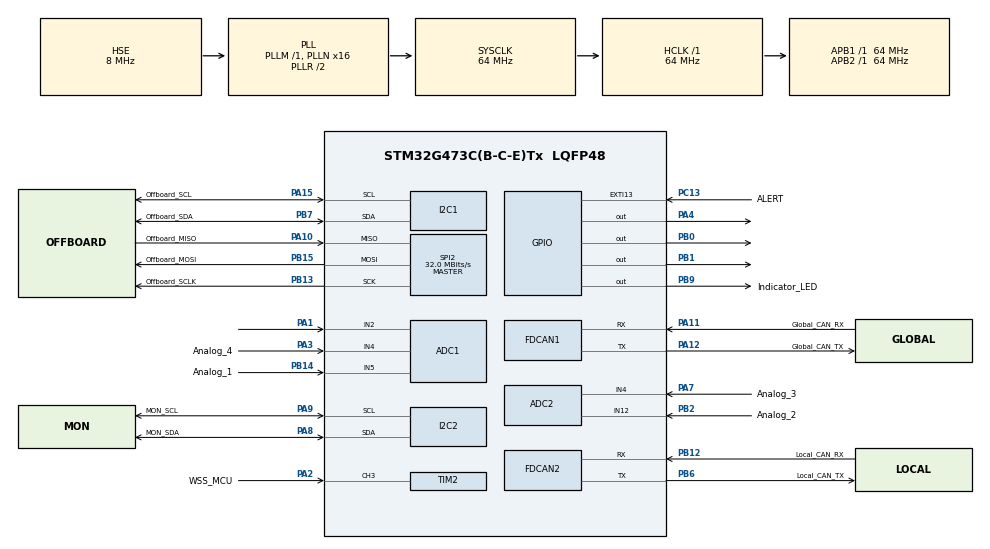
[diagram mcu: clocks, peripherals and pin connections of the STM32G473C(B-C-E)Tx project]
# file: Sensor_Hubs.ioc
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ADC1.Channel-0\#ChannelRegularConversion=ADC_CHANNEL_4
ADC1.Channel-1\#ChannelRegularConversion=ADC_CHANNEL_5
ADC1.Channel-2\#ChannelRegularConversion=ADC_CHANNEL_2
ADC1.ExternalTrigConv=ADC_EXTERNALTRIG_T8_TRGO
ADC1.NbrOfConversion=3
ADC1.NbrOfConversionFlag=1
ADC1.OffsetNumber-0\#ChannelRegularConversion=ADC_OFFSET_NONE
ADC1.OffsetNumber-1\#ChannelRegularConversion=ADC_OFFSET_NONE
ADC1.OffsetNumber-2\#ChannelRegularConversion=ADC_OFFSET_NONE
ADC1.Rank-0\#ChannelRegularConversion=1
ADC1.Rank-1\#ChannelRegularConversion=2
ADC1.Rank-2\#ChannelRegularConversion=3
ADC1.SamplingTime-0\#ChannelRegularConversion=ADC_SAMPLETIME_247CYCLES_5
ADC1.SamplingTime-1\#ChannelRegularConversion=ADC_SAMPLETIME_247CYCLES_5
ADC1.SamplingTime-2\#ChannelRegularConversion=ADC_SAMPLETIME_247CYCLES_5
ADC1.master=1
ADC2.Channel-0\#ChannelRegularConversion=ADC_CHANNEL_12
ADC2.NbrOfConversionFlag=1
ADC2.OffsetNumber-0\#ChannelRegularConversion=ADC_OFFSET_NONE
ADC2.Rank-0\#ChannelRegularConversion=1
ADC2.SamplingTime-0\#ChannelRegularConversion=ADC_SAMPLETIME_2CYCLES_5
Dma.ADC1.0.Direction=DMA_PERIPH_TO_MEMORY
Dma.ADC1.0.EventEnable=DISABLE
Dma.ADC1.0.Instance=DMA1_Channel1
Dma.ADC1.0.MemDataAlignment=DMA_MDATAALIGN_HALFWORD
Dma.ADC1.0.MemInc=DMA_MINC_ENABLE
Dma.ADC1.0.Mode=DMA_CIRCULAR
Dma.ADC1.0.PeriphDataAlignment=DMA_PDATAALIGN_HALFWORD
Dma.ADC1.0.PeriphInc=DMA_PINC_DISABLE
Dma.ADC1.0.Polarity=HAL_DMAMUX_REQ_GEN_RISING
Dma.ADC1.0.Priority=DMA_PRIORITY_LOW
Dma.ADC1.0.RequestNumber=1
Dma.ADC1.0.SignalID=NONE
Dma.ADC1.0.SyncEnable=DISABLE
Dma.ADC1.0.SyncPolarity=HAL_DMAMUX_SYNC_NO_EVENT
Dma.ADC1.0.SyncRequestNumber=1
Dma.ADC1.0.SyncSignalID=NONE
Dma.ADC2.1.Direction=DMA_PERIPH_TO_MEMORY
Dma.ADC2.1.EventEnable=DISABLE
Dma.ADC2.1.Instance=DMA1_Channel2
Dma.ADC2.1.MemDataAlignment=DMA_MDATAALIGN_HALFWORD
Dma.ADC2.1.MemInc=DMA_MINC_ENABLE
Dma.ADC2.1.Mode=DMA_CIRCULAR
Dma.ADC2.1.PeriphDataAlignment=DMA_PDATAALIGN_HALFWORD
Dma.ADC2.1.PeriphInc=DMA_PINC_DISABLE
Dma.ADC2.1.Polarity=HAL_DMAMUX_REQ_GEN_RISING
Dma.ADC2.1.Priority=DMA_PRIORITY_LOW
Dma.ADC2.1.RequestNumber=1
Dma.ADC2.1.SignalID=NONE
Dma.ADC2.1.SyncEnable=DISABLE
Dma.ADC2.1.SyncPolarity=HAL_DMAMUX_SYNC_NO_EVENT
Dma.ADC2.1.SyncRequestNumber=1
Dma.ADC2.1.SyncSignalID=NONE
Dma.I2C2_RX.3.Direction=DMA_PERIPH_TO_MEMORY
Dma.I2C2_RX.3.EventEnable=DISABLE
Dma.I2C2_RX.3.Instance=DMA1_Channel4
Dma.I2C2_RX.3.MemDataAlignment=DMA_MDATAALIGN_BYTE
Dma.I2C2_RX.3.MemInc=DMA_MINC_ENABLE
Dma.I2C2_RX.3.Mode=DMA_NORMAL
Dma.I2C2_RX.3.PeriphDataAlignment=DMA_PDATAALIGN_BYTE
Dma.I2C2_RX.3.PeriphInc=DMA_PINC_DISABLE
Dma.I2C2_RX.3.Polarity=HAL_DMAMUX_REQ_GEN_RISING
Dma.I2C2_RX.3.Priority=DMA_PRIORITY_LOW
Dma.I2C2_RX.3.RequestNumber=1
Dma.I2C2_RX.3.SignalID=NONE
Dma.I2C2_RX.3.SyncEnable=DISABLE
Dma.I2C2_RX.3.SyncPolarity=HAL_DMAMUX_SYNC_NO_EVENT
Dma.I2C2_RX.3.SyncRequestNumber=1
Dma.I2C2_RX.3.SyncSignalID=NONE
Dma.Request0=ADC1
Dma.Request1=ADC2
Dma.Request2=TIM2_CH3
Dma.Request3=I2C2_RX
Dma.Request4=SPI2_RX
Dma.SPI2_RX.4.Direction=DMA_PERIPH_TO_MEMORY
Dma.SPI2_RX.4.EventEnable=DISABLE
Dma.SPI2_RX.4.Instance=DMA1_Channel5
Dma.SPI2_RX.4.MemDataAlignment=DMA_MDATAALIGN_BYTE
Dma.SPI2_RX.4.MemInc=DMA_MINC_ENABLE
Dma.SPI2_RX.4.Mode=DMA_NORMAL
Dma.SPI2_RX.4.PeriphDataAlignment=DMA_PDATAALIGN_BYTE
Dma.SPI2_RX.4.PeriphInc=DMA_PINC_DISABLE
Dma.SPI2_RX.4.Polarity=HAL_DMAMUX_REQ_GEN_RISING
Dma.SPI2_RX.4.Priority=DMA_PRIORITY_LOW
Dma.SPI2_RX.4.RequestNumber=1
Dma.SPI2_RX.4.SignalID=NONE
Dma.SPI2_RX.4.SyncEnable=DISABLE
Dma.SPI2_RX.4.SyncPolarity=HAL_DMAMUX_SYNC_NO_EVENT
Dma.SPI2_RX.4.SyncRequestNumber=1
Dma.SPI2_RX.4.SyncSignalID=NONE
Dma.TIM2_CH3.2.Direction=DMA_PERIPH_TO_MEMORY
Dma.TIM2_CH3.2.EventEnable=DISABLE
Dma.TIM2_CH3.2.Instance=DMA1_Channel3
Dma.TIM2_CH3.2.MemDataAlignment=DMA_MDATAALIGN_WORD
Dma.TIM2_CH3.2.MemInc=DMA_MINC_ENABLE
Dma.TIM2_CH3.2.Mode=DMA_NORMAL
Dma.TIM2_CH3.2.PeriphDataAlignment=DMA_PDATAALIGN_WORD
Dma.TIM2_CH3.2.PeriphInc=DMA_PINC_DISABLE
Dma.TIM2_CH3.2.Polarity=HAL_DMAMUX_REQ_GEN_RISING
Dma.TIM2_CH3.2.Priority=DMA_PRIORITY_LOW
Dma.TIM2_CH3.2.RequestNumber=1
Dma.TIM2_CH3.2.SignalID=NONE
Dma.TIM2_CH3.2.SyncEnable=DISABLE
Dma.TIM2_CH3.2.SyncPolarity=HAL_DMAMUX_SYNC_NO_EVENT
Dma.TIM2_CH3.2.SyncRequestNumber=1
Dma.TIM2_CH3.2.SyncSignalID=NONE
FDCAN1.CalculateBaudRateNominal=1333333
FDCAN1.CalculateTimeBitNominal=750
FDCAN1.CalculateTimeQuantumNominal=250.0
FDCAN2.CalculateBaudRateNominal=1333333
FDCAN2.CalculateTimeBitNominal=750
FDCAN2.CalculateTimeQuantumNominal=250.0
FREERTOS.BinarySemaphores01=sem_MON_I2C,Dynamic,NULL,Depleted;sem_WSS,Dynamic,NULL,Depleted;sem_ADC1,Dynamic,NULL,Depleted;sem_ADC2,Dynamic,NULL,Depleted
FREERTOS.Events01=wss_write_flag,Dynamic,NULL
FREERTOS.Mutexes01=ADC1_key,Dynamic,NULL,Available;ADC2_key,Dynamic,NULL,Available;temp_data_key,Dynamic,NULL,Available;error_info_key,Dynamic,NULL,Available;WSS_Key,Dynamic,NULL,Available;board_mon_key,Dynamic,NULL,Available
FREERTOS.Queues01=Global_CAN_Queue,20,uint16_t,0,Dynamic,NULL,NULL;WSS_Queue,1,float,0,Dynamic,NULL,NULL
FREERTOS.Tasks01=Global_CAN_Send,40,128,Start_Global_CAN_Send,Default,NULL,Dynamic,NULL,NULL;Sensor_MSG_1,24,128,Start_Sensor_MSG_1,Default,NULL,Dynamic,NULL,NULL;Sensor_MSG_2,24,128,Start_Sensor_MSG_2,Default,NULL,Dynamic,NULL,NULL;Temps_MSG,24,128,Start_Temps_MSG,Default,NULL,Dynamic,NULL,NULL;Board_Diag_MSG,24,128,Start_Board_Diag_MSG,Default,NULL,Dynamic,NULL,NULL;ADC1_Process,8,128,Start_ADC1_Process,Default,NULL,Dynamic,NULL,NULL;ADC2_Process,8,128,Start_ADC2_Process,Default,NULL,Dynamic,NULL,NULL;Process_WSS,24,128,Start_Process_WSS,Default,NULL,Dynamic,NULL,NULL;MON_Process,16,128,Start_MON_Process,Default,NULL,Dynamic,NULL,NULL
FREERTOS.configTOTAL_HEAP_SIZE=10000
I2C1.Timing=0x10B17DB5
I2C2.Timing=0x10B17DB5
Mcu.Family=STM32G4
Mcu.Name=STM32G473C(B-C-E)Tx
Mcu.Package=LQFP48
NVIC.ADC1_2_IRQn=true\:5\:0\:false\:false\:true\:true\:true\:true\:true
NVIC.DMA1_Channel1_IRQn=true\:5\:0\:false\:false\:true\:true\:false\:true\:true
NVIC.DMA1_Channel2_IRQn=true\:5\:0\:false\:false\:true\:true\:false\:true\:true
NVIC.DMA1_Channel3_IRQn=true\:5\:0\:false\:false\:true\:true\:false\:true\:true
NVIC.DMA1_Channel4_IRQn=true\:5\:0\:false\:false\:true\:true\:false\:true\:true
NVIC.DMA1_Channel5_IRQn=true\:5\:0\:false\:false\:true\:true\:false\:true\:true
NVIC.EXTI15_10_IRQn=true\:5\:0\:false\:false\:true\:true\:true\:true\:true
NVIC.FDCAN1_IT0_IRQn=true\:5\:0\:false\:false\:true\:true\:true\:true\:true
NVIC.FDCAN2_IT0_IRQn=true\:5\:0\:false\:false\:true\:true\:true\:true\:true
NVIC.I2C1_EV_IRQn=true\:5\:0\:false\:false\:true\:true\:true\:true\:true
NVIC.I2C2_EV_IRQn=true\:5\:0\:false\:false\:true\:true\:true\:true\:true
NVIC.PriorityGroup=NVIC_PRIORITYGROUP_4
NVIC.SPI2_IRQn=true\:5\:0\:false\:false\:true\:true\:true\:true\:true
NVIC.TIM1_UP_TIM16_IRQn=true\:15\:0\:false\:false\:true\:false\:false\:true\:true
NVIC.TIM2_IRQn=true\:5\:0\:false\:false\:true\:true\:true\:true\:true
NVIC.TimeBase=TIM1_UP_TIM16_IRQn
NVIC.TimeBaseIP=TIM1
PA1.Mode=IN2-Single-Ended
PA1.Signal=ADC1_IN2
PA10.GPIO_Label=Offboard_MISO
PA10.Mode=Full_Duplex_Master
PA10.Signal=SPI2_MISO
PA11.GPIO_Label=Global_CAN_RX
PA11.Mode=FDCAN_Activate
PA11.Signal=FDCAN1_RX
PA12.GPIO_Label=Global_CAN_TX
PA12.Mode=FDCAN_Activate
PA12.Signal=FDCAN1_TX
PA13.GPIO_Label=SWDIO
PA13.Mode=Trace_Asynchronous_SW
PA13.Signal=SYS_JTMS-SWDIO
PA14.GPIO_Label=SWCLK
PA14.Mode=Trace_Asynchronous_SW
PA14.Signal=SYS_JTCK-SWCLK
PA15.GPIO_Label=Offboard_SCL
PA15.GPIO_Speed=GPIO_SPEED_FREQ_HIGH
PA15.Mode=I2C
PA15.Signal=I2C1_SCL
PA2.GPIO_Label=WSS_MCU
PA2.Signal=S_TIM2_CH3
PA3.GPIO_Label=Analog_4
PA3.Mode=IN4-Single-Ended
PA3.Signal=ADC1_IN4
PA4.Signal=GPIO_Output
PA7.GPIO_Label=Analog_3
PA7.Mode=IN4-Single-Ended
PA7.Signal=ADC2_IN4
PA8.GPIO_Label=MON_SDA
PA8.GPIO_Speed=GPIO_SPEED_FREQ_LOW
PA8.Mode=I2C
PA8.Signal=I2C2_SDA
PA9.GPIO_Label=MON_SCL
PA9.Mode=I2C
PA9.Signal=I2C2_SCL
PB0.Signal=GPIO_Output
PB1.Signal=GPIO_Output
PB12.GPIO_Label=Local_CAN_RX
PB12.Mode=FDCAN_Activate
PB12.Signal=FDCAN2_RX
PB13.GPIO_Label=Offboard_SCLK
PB13.Mode=Full_Duplex_Master
PB13.Signal=SPI2_SCK
PB14.GPIO_Label=Analog_1
PB14.Mode=IN5-Single-Ended
PB14.Signal=ADC1_IN5
PB15.GPIO_Label=Offboard_MOSI
PB15.Mode=Full_Duplex_Master
PB15.Signal=SPI2_MOSI
PB2.GPIO_Label=Analog_2
PB2.Mode=IN12-Single-Ended
PB2.Signal=ADC2_IN12
PB3.GPIO_Label=TRACESWO
PB3.Mode=Trace_Asynchronous_SW
PB3.Signal=SYS_JTDO-SWO
PB6.GPIO_Label=Local_CAN_TX
PB6.Mode=FDCAN_Activate
PB6.Signal=FDCAN2_TX
PB7.GPIO_Label=Offboard_SDA
PB7.GPIO_Speed=GPIO_SPEED_FREQ_HIGH
PB7.Mode=I2C
PB7.Signal=I2C1_SDA
PB9.GPIO_Label=Indicator_LED
PB9.Signal=GPIO_Output
PC13.GPIO_Label=ALERT
PC13.GPIO_ModeDefaultEXTI=GPIO_MODE_IT_FALLING
PC13.Signal=GPXTI13
PF0-OSC_IN.GPIO_Label=HSE_OSC_IN
PF0-OSC_IN.Mode=HSE-External-Oscillator
PF0-OSC_IN.Signal=RCC_OSC_IN
PF1-OSC_OUT.GPIO_Label=HSE_OSC_OUT
PF1-OSC_OUT.Mode=HSE-External-Oscillator
PF1-OSC_OUT.Signal=RCC_OSC_OUT
ProjectManager.HeapSize=0x200
ProjectManager.StackSize=0x400
ProjectManager.TargetToolchain=CMake
RCC.ADC12Freq_Value=64000000
RCC.ADC345Freq_Value=64000000
RCC.AHBFreq_Value=64000000
RCC.APB1Freq_Value=64000000
RCC.APB1TimFreq_Value=64000000
RCC.APB2Freq_Value=64000000
RCC.APB2TimFreq_Value=64000000
RCC.CortexFreq_Value=64000000
RCC.EXTERNAL_CLOCK_VALUE=12288000
RCC.HCLKFreq_Value=64000000
RCC.HSE_VALUE=8000000
RCC.HSI48_VALUE=48000000
RCC.HSI_VALUE=16000000
RCC.LSE_VALUE=32768
RCC.PLLN=16
RCC.PLLSourceVirtual=RCC_PLLSOURCE_HSE
RCC.SYSCLKFreq_VALUE=64000000
RCC.SYSCLKSource=RCC_SYSCLKSOURCE_PLLCLK
RCC.USBFreq_Value=64000000
RCC.VCOOutputFreq_Value=128000000
SH.S_TIM2_CH3.0=TIM2_CH3,Input_Capture3_from_TI3
SPI2.CalculateBaudRate=32.0 MBits/s
SPI2.Direction=SPI_DIRECTION_2LINES
SPI2.Mode=SPI_MODE_MASTER
SPI2.VirtualType=VM_MASTER
TIM2.Channel-Input_Capture3_from_TI3=TIM_CHANNEL_3
TIM2.ICFilter_CH3=8
TIM2.ICPolarity_CH3=TIM_INPUTCHANNELPOLARITY_FALLING
TIM2.PeriodNoDither=0xffffffff
TIM2.Prescaler=64-1
TIM8.PeriodNoDither=1000-1
TIM8.Prescaler=640-1
TIM8.TIM_MasterOutputTrigger=TIM_TRGO_UPDATE
VP_FREERTOS_VS_CMSIS_V2.Mode=CMSIS_V2
VP_SYS_VS_DBSignals.Mode=DisableDeadBatterySignals
VP_SYS_VS_tim1.Mode=TIM1
VP_TIM2_VS_ClockSourceINT.Mode=Internal
VP_TIM8_VS_ClockSourceINT.Mode=Internal
board=custom

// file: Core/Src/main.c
/* USER CODE BEGIN Header */
/**
 ******************************************************************************
 * @file           : main.c
 * @brief          : Main program body
 ******************************************************************************
 * @attention
 *
 * Copyright (c) 2026 STMicroelectronics.
 * All rights reserved.
 *
 * This software is licensed under terms that can be found in the LICENSE file
 * in the root directory of this software component.
 * If no LICENSE file comes with this software, it is provided AS-IS.
 *
 ******************************************************************************
 */
/* USER CODE END Header */
#include "main.h"

#include "Common.h"
#include "adc_driver.h"
#include "cmsis_os.h"
#include "cmsis_os2.h"
#include "local_can.h"

ADC_HandleTypeDef hadc1;
ADC_HandleTypeDef hadc2;
DMA_HandleTypeDef hdma_adc1;
DMA_HandleTypeDef hdma_adc2;

FDCAN_HandleTypeDef hfdcan1;
FDCAN_HandleTypeDef hfdcan2;

I2C_HandleTypeDef hi2c1;
I2C_HandleTypeDef hi2c2;
DMA_HandleTypeDef hdma_i2c2_rx;

SPI_HandleTypeDef hspi2;
DMA_HandleTypeDef hdma_spi2_rx;

TIM_HandleTypeDef htim2;
TIM_HandleTypeDef htim8;
DMA_HandleTypeDef hdma_tim2_ch3;

/* Definitions for Global_CAN_Send */
osThreadId_t Global_CAN_SendHandle;
const osThreadAttr_t Global_CAN_Send_attributes = {
    .name = "Global_CAN_Send", .priority = (osPriority_t)osPriorityHigh, .stack_size = 128 * 4};
/* Definitions for Sensor_MSG_1 */
osThreadId_t Sensor_MSG_1Handle;
const osThreadAttr_t Sensor_MSG_1_attributes = {
    .name = "Sensor_MSG_1", .priority = (osPriority_t)osPriorityNormal, .stack_size = 128 * 4};
/* Definitions for Sensor_MSG_2 */
osThreadId_t Sensor_MSG_2Handle;
const osThreadAttr_t Sensor_MSG_2_attributes = {
    .name = "Sensor_MSG_2", .priority = (osPriority_t)osPriorityNormal, .stack_size = 128 * 4};
/* Definitions for Temps_MSG */
osThreadId_t Temps_MSGHandle;
const osThreadAttr_t Temps_MSG_attributes = {
    .name = "Temps_MSG", .priority = (osPriority_t)osPriorityNormal, .stack_size = 128 * 4};
/* Definitions for Board_Diag_MSG */
osThreadId_t Board_Diag_MSGHandle;
const osThreadAttr_t Board_Diag_MSG_attributes = {
    .name = "Board_Diag_MSG", .priority = (osPriority_t)osPriorityNormal, .stack_size = 128 * 4};
/* Definitions for ADC1_Process */
osThreadId_t ADC1_ProcessHandle;
const osThreadAttr_t ADC1_Process_attributes = {
    .name = "ADC1_Process", .priority = (osPriority_t)osPriorityLow, .stack_size = 128 * 4};
/* Definitions for ADC2_Process */
osThreadId_t ADC2_ProcessHandle;
const osThreadAttr_t ADC2_Process_attributes = {
    .name = "ADC2_Process", .priority = (osPriority_t)osPriorityLow, .stack_size = 128 * 4};
/* Definitions for Process_WSS */
osThreadId_t Process_WSSHandle;
const osThreadAttr_t Process_WSS_attributes = {
    .name = "Process_WSS", .priority = (osPriority_t)osPriorityNormal, .stack_size = 128 * 4};
/* Definitions for MON_Process */
osThreadId_t MON_ProcessHandle;
const osThreadAttr_t MON_Process_attributes = {
    .name = "MON_Process", .priority = (osPriority_t)osPriorityBelowNormal, .stack_size = 128 * 4};
/* Definitions for Global_CAN_Queue */
osMessageQueueId_t Global_CAN_QueueHandle;
const osMessageQueueAttr_t Global_CAN_Queue_attributes = {.name = "Global_CAN_Queue"};
/* Definitions for WSS_Queue */
osMessageQueueId_t WSS_QueueHandle;
const osMessageQueueAttr_t WSS_Queue_attributes = {.name = "WSS_Queue"};
/* Definitions for ADC1_key */
osMutexId_t ADC1_keyHandle;
const osMutexAttr_t ADC1_key_attributes = {.name = "ADC1_key"};
/* Definitions for ADC2_key */
osMutexId_t ADC2_keyHandle;
const osMutexAttr_t ADC2_key_attributes = {.name = "ADC2_key"};
/* Definitions for temp_data_key */
osMutexId_t temp_data_keyHandle;
const osMutexAttr_t temp_data_key_attributes = {.name = "temp_data_key"};
/* Definitions for error_info_key */
osMutexId_t error_info_keyHandle;
const osMutexAttr_t error_info_key_attributes = {.name = "error_info_key"};
/* Definitions for WSS_Key */
osMutexId_t WSS_KeyHandle;
const osMutexAttr_t WSS_Key_attributes = {.name = "WSS_Key"};
/* Definitions for board_mon_key */
osMutexId_t board_mon_keyHandle;
const osMutexAttr_t board_mon_key_attributes = {.name = "board_mon_key"};
/* Definitions for sem_MON_I2C */
osSemaphoreId_t sem_MON_I2CHandle;
const osSemaphoreAttr_t sem_MON_I2C_attributes = {.name = "sem_MON_I2C"};
/* Definitions for sem_WSS */
osSemaphoreId_t sem_WSSHandle;
const osSemaphoreAttr_t sem_WSS_attributes = {.name = "sem_WSS"};
/* Definitions for sem_ADC1 */
osSemaphoreId_t sem_ADC1Handle;
const osSemaphoreAttr_t sem_ADC1_attributes = {.name = "sem_ADC1"};
/* Definitions for sem_ADC2 */
osSemaphoreId_t sem_ADC2Handle;
const osSemaphoreAttr_t sem_ADC2_attributes = {.name = "sem_ADC2"};
/* Definitions for wss_write_flag */
osEventFlagsId_t wss_write_flagHandle;
const osEventFlagsAttr_t wss_write_flag_attributes = {.name = "wss_write_flag"};

void SystemClock_Config(void);
static void MX_GPIO_Init(void);
static void MX_DMA_Init(void);
static void MX_ADC1_Init(void);
static void MX_ADC2_Init(void);
static void MX_FDCAN1_Init(void);
static void MX_FDCAN2_Init(void);
static void MX_I2C1_Init(void);
static void MX_I2C2_Init(void);
static void MX_SPI2_Init(void);
static void MX_TIM2_Init(void);
static void MX_TIM8_Init(void);
void Start_Global_CAN_Send(void* argument);
void Start_Sensor_MSG_1(void* argument);
void Start_Sensor_MSG_2(void* argument);
void Start_Temps_MSG(void* argument);
void Start_Board_Diag_MSG(void* argument);
void Start_ADC1_Process(void* argument);
void Start_ADC2_Process(void* argument);
void Start_Process_WSS(void* argument);
void Start_MON_Process(void* argument);

/* USER CODE BEGIN 0 */
Mutex_Struct_t mutex_struct;
Semaphore_Struct_t semaphore_struct;
adc1_info global_adc1 = {0};
adc2_info global_adc2 = {0};
mon_i2c_data global_mon = {0};

/* USER CODE END 0 */

int main(void) {

    /* MCU Configuration--------------------------------------------------------*/

    /* Reset of all peripherals, Initializes the Flash interface and the Systick. */
    HAL_Init();

    /* USER CODE BEGIN Init */
    adc1_info adc1_data = {0};
    adc2_info adc2_data = {0};
    mon_i2c_data board_mon_data = {0};
    wss = 0;
    /* USER CODE END Init */

    /* Configure the system clock */
    SystemClock_Config();

    /* Initialize all configured peripherals */
    MX_GPIO_Init();
    MX_DMA_Init();
    MX_ADC1_Init();
    MX_ADC2_Init();
    MX_FDCAN1_Init();
    MX_FDCAN2_Init();
    MX_I2C1_Init();
    MX_I2C2_Init();
    MX_SPI2_Init();
    MX_TIM2_Init();
    MX_TIM8_Init();

    /* Init scheduler */
    osKernelInitialize();
    /* Create the mutex(es) */
    /* creation of ADC1_key */
    ADC1_keyHandle = osMutexNew(&ADC1_key_attributes);

    /* creation of ADC2_key */
    ADC2_keyHandle = osMutexNew(&ADC2_key_attributes);

    /* creation of temp_data_key */
    temp_data_keyHandle = osMutexNew(&temp_data_key_attributes);

    /* creation of error_info_key */
    error_info_keyHandle = osMutexNew(&error_info_key_attributes);

    /* creation of WSS_Key */
    WSS_KeyHandle = osMutexNew(&WSS_Key_attributes);

    /* creation of board_mon_key */
    board_mon_keyHandle = osMutexNew(&board_mon_key_attributes);

    /* USER CODE BEGIN RTOS_MUTEX */
    /* add mutexes, ... */
    mutex_struct.error_info_key = error_info_keyHandle;
    mutex_struct.temp_data_key = temp_data_keyHandle;
    mutex_struct.adc1_key = ADC1_keyHandle;
    mutex_struct.adc2_key = ADC2_keyHandle;
    mutex_struct.board_mon_key = board_mon_keyHandle;

    /* USER CODE END RTOS_MUTEX */

    /* Create the semaphores(s) */
    /* creation of sem_MON_I2C */
    sem_MON_I2CHandle = osSemaphoreNew(1, 0, &sem_MON_I2C_attributes);

    /* creation of sem_WSS */
    sem_WSSHandle = osSemaphoreNew(1, 0, &sem_WSS_attributes);

    /* creation of sem_ADC1 */
    sem_ADC1Handle = osSemaphoreNew(1, 0, &sem_ADC1_attributes);

    /* creation of sem_ADC2 */
    sem_ADC2Handle = osSemaphoreNew(1, 0, &sem_ADC2_attributes);

    /* USER CODE BEGIN RTOS_SEMAPHORES */
    /* add semaphores, ... */
    semaphore_struct.sem_ADC1 = sem_ADC1Handle;
    semaphore_struct.sem_ADC2 = sem_ADC2Handle;
    semaphore_struct.sem_MON_I2C = sem_MON_I2CHandle;
    semaphore_struct.sem_WSS = sem_WSSHandle;
    /* USER CODE END RTOS_SEMAPHORES */

    /* USER CODE BEGIN RTOS_TIMERS */
    /* start timers, add new ones, ... */
    HAL_TIM_IC_Start_IT(&htim2, TIM_CHANNEL_3);
    /* USER CODE END RTOS_TIMERS */

    /* Create the queue(s) */
    /* creation of Global_CAN_Queue */
    Global_CAN_QueueHandle = osMessageQueueNew(20, sizeof(uint16_t), &Global_CAN_Queue_attributes);

    /* creation of WSS_Queue */
    WSS_QueueHandle = osMessageQueueNew(1, sizeof(float), &WSS_Queue_attributes);

    /* USER CODE BEGIN RTOS_QUEUES */
    /* add queues, ... */
    Local_Temp_CAN_QueueHandle =
        osMessageQueueNew(20, sizeof(uint8_t[8]), &Local_Temp_CAN_Queue_attributes);
    /* USER CODE END RTOS_QUEUES */

    /* Create the thread(s) */
    /* creation of Global_CAN_Send */
    Global_CAN_SendHandle = osThreadNew(Start_Global_CAN_Send, NULL, &Global_CAN_Send_attributes);

    /* creation of Sensor_MSG_1 */
    Sensor_MSG_1Handle = osThreadNew(Start_Sensor_MSG_1, NULL, &Sensor_MSG_1_attributes);

    /* creation of Sensor_MSG_2 */
    Sensor_MSG_2Handle = osThreadNew(Start_Sensor_MSG_2, NULL, &Sensor_MSG_2_attributes);

    /* creation of Temps_MSG */
    Temps_MSGHandle = osThreadNew(Start_Temps_MSG, NULL, &Temps_MSG_attributes);

    /* creation of Board_Diag_MSG */
    Board_Diag_MSGHandle = osThreadNew(Start_Board_Diag_MSG, NULL, &Board_Diag_MSG_attributes);

    /* creation of ADC1_Process */
    ADC1_ProcessHandle = osThreadNew(Start_ADC1_Process, NULL, &ADC1_Process_attributes);

    /* creation of ADC2_Process */
    ADC2_ProcessHandle = osThreadNew(Start_ADC2_Process, NULL, &ADC2_Process_attributes);

    /* creation of Process_WSS */
    Process_WSSHandle = osThreadNew(Start_Process_WSS, NULL, &Process_WSS_attributes);

    /* creation of MON_Process */
    MON_ProcessHandle = osThreadNew(Start_MON_Process, NULL, &MON_Process_attributes);

    /* creation of wss_write_flag */
    wss_write_flagHandle = osEventFlagsNew(&wss_write_flag_attributes);

    /* Start scheduler */
    osKernelStart();

    /* We should never get here as control is now taken by the scheduler */

    /* Infinite loop */
    while (1) {

    }
}

void SystemClock_Config(void) {
    RCC_OscInitTypeDef RCC_OscInitStruct = {0};
    RCC_ClkInitTypeDef RCC_ClkInitStruct = {0};

    /** Configure the main internal regulator output voltage
     */
    HAL_PWREx_ControlVoltageScaling(PWR_REGULATOR_VOLTAGE_SCALE1);

    /** Initializes the RCC Oscillators according to the specified parameters
     * in the RCC_OscInitTypeDef structure.
     */
    RCC_OscInitStruct.OscillatorType = RCC_OSCILLATORTYPE_HSE;
    RCC_OscInitStruct.HSEState = RCC_HSE_ON;
    RCC_OscInitStruct.PLL.PLLState = RCC_PLL_ON;
    RCC_OscInitStruct.PLL.PLLSource = RCC_PLLSOURCE_HSE;
    RCC_OscInitStruct.PLL.PLLM = RCC_PLLM_DIV1;
    RCC_OscInitStruct.PLL.PLLN = 16;
    RCC_OscInitStruct.PLL.PLLP = RCC_PLLP_DIV2;
    RCC_OscInitStruct.PLL.PLLQ = RCC_PLLQ_DIV2;
    RCC_OscInitStruct.PLL.PLLR = RCC_PLLR_DIV2;
    if (HAL_RCC_OscConfig(&RCC_OscInitStruct) != HAL_OK) {
        Error_Handler();
    }

    /** Initializes the CPU, AHB and APB buses clocks
     */
    RCC_ClkInitStruct.ClockType =
        RCC_CLOCKTYPE_HCLK | RCC_CLOCKTYPE_SYSCLK | RCC_CLOCKTYPE_PCLK1 | RCC_CLOCKTYPE_PCLK2;
    RCC_ClkInitStruct.SYSCLKSource = RCC_SYSCLKSOURCE_PLLCLK;
    RCC_ClkInitStruct.AHBCLKDivider = RCC_SYSCLK_DIV1;
    RCC_ClkInitStruct.APB1CLKDivider = RCC_HCLK_DIV1;
    RCC_ClkInitStruct.APB2CLKDivider = RCC_HCLK_DIV1;

    if (HAL_RCC_ClockConfig(&RCC_ClkInitStruct, FLASH_LATENCY_2) != HAL_OK) {
        Error_Handler();
    }
}

static void MX_ADC1_Init(void) {

    ADC_MultiModeTypeDef multimode = {0};
    ADC_ChannelConfTypeDef sConfig = {0};

    /** Common config
     */
    hadc1.Instance = ADC1;
    hadc1.Init.ClockPrescaler = ADC_CLOCK_SYNC_PCLK_DIV2;
    hadc1.Init.Resolution = ADC_RESOLUTION_12B;
    hadc1.Init.DataAlign = ADC_DATAALIGN_RIGHT;
    hadc1.Init.GainCompensation = 0;
    hadc1.Init.ScanConvMode = ADC_SCAN_ENABLE;
    hadc1.Init.EOCSelection = ADC_EOC_SINGLE_CONV;
    hadc1.Init.LowPowerAutoWait = DISABLE;
    hadc1.Init.ContinuousConvMode = DISABLE;
    hadc1.Init.NbrOfConversion = 3;
    hadc1.Init.DiscontinuousConvMode = DISABLE;
    hadc1.Init.ExternalTrigConv = ADC_EXTERNALTRIG_T8_TRGO;
    hadc1.Init.ExternalTrigConvEdge = ADC_EXTERNALTRIGCONVEDGE_RISING;
    hadc1.Init.DMAContinuousRequests = DISABLE;
    hadc1.Init.Overrun = ADC_OVR_DATA_PRESERVED;
    hadc1.Init.OversamplingMode = DISABLE;
    if (HAL_ADC_Init(&hadc1) != HAL_OK) {
        Error_Handler();
    }

    /** Configure the ADC multi-mode
     */
    multimode.Mode = ADC_MODE_INDEPENDENT;
    if (HAL_ADCEx_MultiModeConfigChannel(&hadc1, &multimode) != HAL_OK) {
        Error_Handler();
    }

    /** Configure Regular Channel
     */
    sConfig.Channel = ADC_CHANNEL_4;
    sConfig.Rank = ADC_REGULAR_RANK_1;
    sConfig.SamplingTime = ADC_SAMPLETIME_247CYCLES_5;
    sConfig.SingleDiff = ADC_SINGLE_ENDED;
    sConfig.OffsetNumber = ADC_OFFSET_NONE;
    sConfig.Offset = 0;
    if (HAL_ADC_ConfigChannel(&hadc1, &sConfig) != HAL_OK) {
        Error_Handler();
    }

    /** Configure Regular Channel
     */
    sConfig.Channel = ADC_CHANNEL_5;
    sConfig.Rank = ADC_REGULAR_RANK_2;
    if (HAL_ADC_ConfigChannel(&hadc1, &sConfig) != HAL_OK) {
        Error_Handler();
    }

    /** Configure Regular Channel
     */
    sConfig.Channel = ADC_CHANNEL_2;
    sConfig.Rank = ADC_REGULAR_RANK_3;
    if (HAL_ADC_ConfigChannel(&hadc1, &sConfig) != HAL_OK) {
        Error_Handler();
    }
}

static void MX_ADC2_Init(void) {

    ADC_ChannelConfTypeDef sConfig = {0};

    /** Common config
     */
    hadc2.Instance = ADC2;
    hadc2.Init.ClockPrescaler = ADC_CLOCK_SYNC_PCLK_DIV2;
    hadc2.Init.Resolution = ADC_RESOLUTION_12B;
    hadc2.Init.DataAlign = ADC_DATAALIGN_RIGHT;
    hadc2.Init.GainCompensation = 0;
    hadc2.Init.ScanConvMode = ADC_SCAN_DISABLE;
    hadc2.Init.EOCSelection = ADC_EOC_SINGLE_CONV;
    hadc2.Init.LowPowerAutoWait = DISABLE;
    hadc2.Init.ContinuousConvMode = DISABLE;
    hadc2.Init.NbrOfConversion = 1;
    hadc2.Init.DiscontinuousConvMode = DISABLE;
    hadc2.Init.ExternalTrigConv = ADC_SOFTWARE_START;
    hadc2.Init.ExternalTrigConvEdge = ADC_EXTERNALTRIGCONVEDGE_NONE;
    hadc2.Init.DMAContinuousRequests = DISABLE;
    hadc2.Init.Overrun = ADC_OVR_DATA_PRESERVED;
    hadc2.Init.OversamplingMode = DISABLE;
    if (HAL_ADC_Init(&hadc2) != HAL_OK) {
        Error_Handler();
    }

    /** Configure Regular Channel
     */
    sConfig.Channel = ADC_CHANNEL_12;
    sConfig.Rank = ADC_REGULAR_RANK_1;
    sConfig.SamplingTime = ADC_SAMPLETIME_2CYCLES_5;
    sConfig.SingleDiff = ADC_SINGLE_ENDED;
    sConfig.OffsetNumber = ADC_OFFSET_NONE;
    sConfig.Offset = 0;
    if (HAL_ADC_ConfigChannel(&hadc2, &sConfig) != HAL_OK) {
        Error_Handler();
    }
}

static void MX_FDCAN1_Init(void) {

    hfdcan1.Instance = FDCAN1;
    hfdcan1.Init.ClockDivider = FDCAN_CLOCK_DIV1;
    hfdcan1.Init.FrameFormat = FDCAN_FRAME_CLASSIC;
    hfdcan1.Init.Mode = FDCAN_MODE_NORMAL;
    hfdcan1.Init.AutoRetransmission = DISABLE;
    hfdcan1.Init.TransmitPause = DISABLE;
    hfdcan1.Init.ProtocolException = DISABLE;
    hfdcan1.Init.NominalPrescaler = 16;
    hfdcan1.Init.NominalSyncJumpWidth = 1;
    hfdcan1.Init.NominalTimeSeg1 = 1;
    hfdcan1.Init.NominalTimeSeg2 = 1;
    hfdcan1.Init.DataPrescaler = 1;
    hfdcan1.Init.DataSyncJumpWidth = 1;
    hfdcan1.Init.DataTimeSeg1 = 1;
    hfdcan1.Init.DataTimeSeg2 = 1;
    hfdcan1.Init.StdFiltersNbr = 0;
    hfdcan1.Init.ExtFiltersNbr = 0;
    hfdcan1.Init.TxFifoQueueMode = FDCAN_TX_FIFO_OPERATION;
    if (HAL_FDCAN_Init(&hfdcan1) != HAL_OK) {
        Error_Handler();
    }
    /* USER CODE BEGIN FDCAN1_Init 2 */
    FDCAN_FilterTypeDef sFilterConfig;

    sFilterConfig.IdType = FDCAN_STANDARD_ID;  // 11 Bit Standard Length
    sFilterConfig.FilterIndex = 0;             // One filter so set to 0
    sFilterConfig.FilterType =
        FDCAN_FILTER_MASK;  // Standard Filter Type, FilterID1 = filter, FilterID2 = mask
    sFilterConfig.FilterID1 = 0x000;
    sFilterConfig.FilterID2 = 0x000;
    sFilterConfig.FilterConfig = FDCAN_FILTER_TO_RXFIFO0;

    if (HAL_FDCAN_ConfigFilter(&hfdcan1, &sFilterConfig) != HAL_OK) {
        /* Filter Configuration Error */
        Error_Handler();
    }
    /* USER CODE END FDCAN1_Init 2 */
}

static void MX_FDCAN2_Init(void) {

    hfdcan2.Instance = FDCAN2;
    hfdcan2.Init.ClockDivider = FDCAN_CLOCK_DIV1;
    hfdcan2.Init.FrameFormat = FDCAN_FRAME_CLASSIC;
    hfdcan2.Init.Mode = FDCAN_MODE_NORMAL;
    hfdcan2.Init.AutoRetransmission = DISABLE;
    hfdcan2.Init.TransmitPause = DISABLE;
    hfdcan2.Init.ProtocolException = DISABLE;
    hfdcan2.Init.NominalPrescaler = 16;
    hfdcan2.Init.NominalSyncJumpWidth = 1;
    hfdcan2.Init.NominalTimeSeg1 = 1;
    hfdcan2.Init.NominalTimeSeg2 = 1;
    hfdcan2.Init.DataPrescaler = 1;
    hfdcan2.Init.DataSyncJumpWidth = 1;
    hfdcan2.Init.DataTimeSeg1 = 1;
    hfdcan2.Init.DataTimeSeg2 = 1;
    hfdcan2.Init.StdFiltersNbr = 0;
    hfdcan2.Init.ExtFiltersNbr = 0;
    hfdcan2.Init.TxFifoQueueMode = FDCAN_TX_FIFO_OPERATION;
    if (HAL_FDCAN_Init(&hfdcan2) != HAL_OK) {
        Error_Handler();
    }
    /* USER CODE BEGIN FDCAN2_Init 2 */
    sFilterConfig.IdType = FDCAN_STANDARD_ID;  // 11 Bit Standard Length
    sFilterConfig.FilterIndex = 0;             // One filter so set to 0
    sFilterConfig.FilterType =
        FDCAN_FILTER_MASK;  // Standard Filter Type, FilterID1 = filter, FilterID2 = mask
    sFilterConfig.FilterID1 = 0x000;
    sFilterConfig.FilterID2 = 0x000;
    sFilterConfig.FilterConfig = FDCAN_FILTER_TO_RXFIFO0;
    /* USER CODE END FDCAN2_Init 2 */
}

static void MX_I2C1_Init(void) {

    hi2c1.Instance = I2C1;
    hi2c1.Init.Timing = 0x10B17DB5;
    hi2c1.Init.OwnAddress1 = 0;
    hi2c1.Init.AddressingMode = I2C_ADDRESSINGMODE_7BIT;
    hi2c1.Init.DualAddressMode = I2C_DUALADDRESS_DISABLE;
    hi2c1.Init.OwnAddress2 = 0;
    hi2c1.Init.OwnAddress2Masks = I2C_OA2_NOMASK;
    hi2c1.Init.GeneralCallMode = I2C_GENERALCALL_DISABLE;
    hi2c1.Init.NoStretchMode = I2C_NOSTRETCH_DISABLE;
    if (HAL_I2C_Init(&hi2c1) != HAL_OK) {
        Error_Handler();
    }

    /** Configure Analogue filter
     */
    if (HAL_I2CEx_ConfigAnalogFilter(&hi2c1, I2C_ANALOGFILTER_ENABLE) != HAL_OK) {
        Error_Handler();
    }

    /** Configure Digital filter
     */
    if (HAL_I2CEx_ConfigDigitalFilter(&hi2c1, 0) != HAL_OK) {
        Error_Handler();
    }
}

static void MX_I2C2_Init(void) {

    hi2c2.Instance = I2C2;
    hi2c2.Init.Timing = 0x10B17DB5;
    hi2c2.Init.OwnAddress1 = 0;
    hi2c2.Init.AddressingMode = I2C_ADDRESSINGMODE_7BIT;
    hi2c2.Init.DualAddressMode = I2C_DUALADDRESS_DISABLE;
    hi2c2.Init.OwnAddress2 = 0;
    hi2c2.Init.OwnAddress2Masks = I2C_OA2_NOMASK;
    hi2c2.Init.GeneralCallMode = I2C_GENERALCALL_DISABLE;
    hi2c2.Init.NoStretchMode = I2C_NOSTRETCH_DISABLE;
    if (HAL_I2C_Init(&hi2c2) != HAL_OK) {
        Error_Handler();
    }

    /** Configure Analogue filter
     */
    if (HAL_I2CEx_ConfigAnalogFilter(&hi2c2, I2C_ANALOGFILTER_ENABLE) != HAL_OK) {
        Error_Handler();
    }

    /** Configure Digital filter
     */
    if (HAL_I2CEx_ConfigDigitalFilter(&hi2c2, 0) != HAL_OK) {
        Error_Handler();
    }
}

static void MX_SPI2_Init(void) {

    /* SPI2 parameter configuration*/
    hspi2.Instance = SPI2;
    hspi2.Init.Mode = SPI_MODE_MASTER;
    hspi2.Init.Direction = SPI_DIRECTION_2LINES;
    hspi2.Init.DataSize = SPI_DATASIZE_4BIT;
    hspi2.Init.CLKPolarity = SPI_POLARITY_LOW;
    hspi2.Init.CLKPhase = SPI_PHASE_1EDGE;
    hspi2.Init.NSS = SPI_NSS_SOFT;
    hspi2.Init.BaudRatePrescaler = SPI_BAUDRATEPRESCALER_2;
    hspi2.Init.FirstBit = SPI_FIRSTBIT_MSB;
    hspi2.Init.TIMode = SPI_TIMODE_DISABLE;
    hspi2.Init.CRCCalculation = SPI_CRCCALCULATION_DISABLE;
    hspi2.Init.CRCPolynomial = 7;
    hspi2.Init.CRCLength = SPI_CRC_LENGTH_DATASIZE;
    hspi2.Init.NSSPMode = SPI_NSS_PULSE_ENABLE;
    if (HAL_SPI_Init(&hspi2) != HAL_OK) {
        Error_Handler();
    }
}

static void MX_TIM2_Init(void) {

    TIM_ClockConfigTypeDef sClockSourceConfig = {0};
    TIM_MasterConfigTypeDef sMasterConfig = {0};
    TIM_IC_InitTypeDef sConfigIC = {0};

    htim2.Instance = TIM2;
    htim2.Init.Prescaler = 64 - 1;
    htim2.Init.CounterMode = TIM_COUNTERMODE_UP;
    htim2.Init.Period = 4294967295;
    htim2.Init.ClockDivision = TIM_CLOCKDIVISION_DIV1;
    htim2.Init.AutoReloadPreload = TIM_AUTORELOAD_PRELOAD_DISABLE;
    if (HAL_TIM_Base_Init(&htim2) != HAL_OK) {
        Error_Handler();
    }
    sClockSourceConfig.ClockSource = TIM_CLOCKSOURCE_INTERNAL;
    if (HAL_TIM_ConfigClockSource(&htim2, &sClockSourceConfig) != HAL_OK) {
        Error_Handler();
    }
    if (HAL_TIM_IC_Init(&htim2) != HAL_OK) {
        Error_Handler();
    }
    sMasterConfig.MasterOutputTrigger = TIM_TRGO_RESET;
    sMasterConfig.MasterSlaveMode = TIM_MASTERSLAVEMODE_DISABLE;
    if (HAL_TIMEx_MasterConfigSynchronization(&htim2, &sMasterConfig) != HAL_OK) {
        Error_Handler();
    }
    sConfigIC.ICPolarity = TIM_INPUTCHANNELPOLARITY_FALLING;
    sConfigIC.ICSelection = TIM_ICSELECTION_DIRECTTI;
    sConfigIC.ICPrescaler = TIM_ICPSC_DIV1;
    sConfigIC.ICFilter = 8;
    if (HAL_TIM_IC_ConfigChannel(&htim2, &sConfigIC, TIM_CHANNEL_3) != HAL_OK) {
        Error_Handler();
    }
}

static void MX_TIM8_Init(void) {

    TIM_ClockConfigTypeDef sClockSourceConfig = {0};
    TIM_MasterConfigTypeDef sMasterConfig = {0};

    htim8.Instance = TIM8;
    htim8.Init.Prescaler = 640 - 1;
    htim8.Init.CounterMode = TIM_COUNTERMODE_UP;
    htim8.Init.Period = 999;
    htim8.Init.ClockDivision = TIM_CLOCKDIVISION_DIV1;
    htim8.Init.RepetitionCounter = 0;
    htim8.Init.AutoReloadPreload = TIM_AUTORELOAD_PRELOAD_DISABLE;
    if (HAL_TIM_Base_Init(&htim8) != HAL_OK) {
        Error_Handler();
    }
    sClockSourceConfig.ClockSource = TIM_CLOCKSOURCE_INTERNAL;
    if (HAL_TIM_ConfigClockSource(&htim8, &sClockSourceConfig) != HAL_OK) {
        Error_Handler();
    }
    sMasterConfig.MasterOutputTrigger = TIM_TRGO_UPDATE;
    sMasterConfig.MasterOutputTrigger2 = TIM_TRGO2_RESET;
    sMasterConfig.MasterSlaveMode = TIM_MASTERSLAVEMODE_DISABLE;
    if (HAL_TIMEx_MasterConfigSynchronization(&htim8, &sMasterConfig) != HAL_OK) {
        Error_Handler();
    }
}

static void MX_DMA_Init(void) {
    /* DMA controller clock enable */
    __HAL_RCC_DMAMUX1_CLK_ENABLE();
    __HAL_RCC_DMA1_CLK_ENABLE();

    /* DMA interrupt init */
    /* DMA1_Channel1_IRQn interrupt configuration */
    HAL_NVIC_SetPriority(DMA1_Channel1_IRQn, 5, 0);
    HAL_NVIC_EnableIRQ(DMA1_Channel1_IRQn);
    /* DMA1_Channel2_IRQn interrupt configuration */
    HAL_NVIC_SetPriority(DMA1_Channel2_IRQn, 5, 0);
    HAL_NVIC_EnableIRQ(DMA1_Channel2_IRQn);
    /* DMA1_Channel3_IRQn interrupt configuration */
    HAL_NVIC_SetPriority(DMA1_Channel3_IRQn, 5, 0);
    HAL_NVIC_EnableIRQ(DMA1_Channel3_IRQn);
    /* DMA1_Channel4_IRQn interrupt configuration */
    HAL_NVIC_SetPriority(DMA1_Channel4_IRQn, 5, 0);
    HAL_NVIC_EnableIRQ(DMA1_Channel4_IRQn);
    /* DMA1_Channel5_IRQn interrupt configuration */
    HAL_NVIC_SetPriority(DMA1_Channel5_IRQn, 5, 0);
    HAL_NVIC_EnableIRQ(DMA1_Channel5_IRQn);
}

static void MX_GPIO_Init(void) {
    GPIO_InitTypeDef GPIO_InitStruct = {0};

    /* GPIO Ports Clock Enable */
    __HAL_RCC_GPIOC_CLK_ENABLE();
    __HAL_RCC_GPIOF_CLK_ENABLE();
    __HAL_RCC_GPIOA_CLK_ENABLE();
    __HAL_RCC_GPIOB_CLK_ENABLE();

    /*Configure GPIO pin Output Level */
    HAL_GPIO_WritePin(GPIOA, GPIO_PIN_4, GPIO_PIN_RESET);

    /*Configure GPIO pin Output Level */
    HAL_GPIO_WritePin(GPIOB, GPIO_PIN_0 | GPIO_PIN_1 | Indicator_LED_Pin, GPIO_PIN_RESET);

    /*Configure GPIO pin : ALERT_Pin */
    GPIO_InitStruct.Pin = ALERT_Pin;
    GPIO_InitStruct.Mode = GPIO_MODE_IT_FALLING;
    GPIO_InitStruct.Pull = GPIO_NOPULL;
    HAL_GPIO_Init(ALERT_GPIO_Port, &GPIO_InitStruct);

    /*Configure GPIO pin : PA4 */
    GPIO_InitStruct.Pin = GPIO_PIN_4;
    GPIO_InitStruct.Mode = GPIO_MODE_OUTPUT_PP;
    GPIO_InitStruct.Pull = GPIO_NOPULL;
    GPIO_InitStruct.Speed = GPIO_SPEED_FREQ_LOW;
    HAL_GPIO_Init(GPIOA, &GPIO_InitStruct);

    /*Configure GPIO pins : PB0 PB1 Indicator_LED_Pin */
    GPIO_InitStruct.Pin = GPIO_PIN_0 | GPIO_PIN_1 | Indicator_LED_Pin;
    GPIO_InitStruct.Mode = GPIO_MODE_OUTPUT_PP;
    GPIO_InitStruct.Pull = GPIO_NOPULL;
    GPIO_InitStruct.Speed = GPIO_SPEED_FREQ_LOW;
    HAL_GPIO_Init(GPIOB, &GPIO_InitStruct);

    /* EXTI interrupt init*/
    HAL_NVIC_SetPriority(EXTI15_10_IRQn, 5, 0);
    HAL_NVIC_EnableIRQ(EXTI15_10_IRQn);

}

void Start_Global_CAN_Send(void* argument) {
    /* USER CODE BEGIN 5 */
    uint32_t curr_tick = osKernelGetTickCount();
    /* Infinite loop */
    for (;;) {
        osDelayUntil(curr_tick + GLOBAL_CAN_SEND_TIME);
        curr_tick += GLOBAL_CAN_SEND_TIME;
    }
    /* USER CODE END 5 */
}

void Start_Sensor_MSG_1(void* argument) {
    /* USER CODE BEGIN Start_Sensor_MSG_1 */
    uint32_t curr_tick = osKernelGetTickCount();
    /* Infinite loop */
    for (;;) {
        sensor1_can(&mutex_struct, &Global_CAN_QueueHandle, &global_adc1, &global_adc2);
        osDelayUntil(curr_tick + SENSOR_MSG_1_TIME);
        curr_tick += SENSOR_MSG_1_TIME;
    }
    /* USER CODE END Start_Sensor_MSG_1 */
}

void Start_Sensor_MSG_2(void* argument) {
    /* USER CODE BEGIN Start_Sensor_MSG_2 */
    uint32_t curr_tick = osKernelGetTickCount();
    /* Infinite loop */
    for (;;) {
        sensor2_can(&mutex_struct, &Global_CAN_QueueHandle, wss);
        osDelayUntil(curr_tick + SENSOR_MSG_2_TIME);
        curr_tick += SENSOR_MSG_2_TIME;
    }
    /* USER CODE END Start_Sensor_MSG_2 */
}

void Start_Temps_MSG(void* argument) {
    /* USER CODE BEGIN Start_Temps_MSG */
    uint32_t curr_tick = osKernelGetTickCount();
    /* Infinite loop */
    for (;;) {
        temps_can(&mutex_struct, &Global_CAN_QueueHandle, &temp_data)
            osDelayUntil(curr_tick + TEMPS_MSG_TIME);
        curr_tick += TEMPS_MSG_TIME;
    }
    /* USER CODE END Start_Temps_MSG */
}

void Start_Board_Diag_MSG(void* argument) {
    /* USER CODE BEGIN Start_Board_Diag_MSG */
    uint32_t curr_tick = osKernelGetTickCount();
    /* Infinite loop */
    for (;;) {
        diag_can(&mutex_struct, &Global_CAN_QueueHandle, &global_mon, &global_adc1);
        osDelayUntil(curr_tick + BOARD_DIAG_MSG_TIME);
        curr_tick += BOARD_DIAG_MSG_TIME;
    }
    /* USER CODE END Start_Board_Diag_MSG */
}

void Start_ADC1_Process(void* argument) {
    /* USER CODE BEGIN Start_ADC1_Process */
    uint32_t curr_tick = osKernelGetTickCount();
    /* Infinite loop */
    for (;;) {
        convert_adc1_to_real(&global_adc1, &mutex_struct, &semaphore_struct);
        osDelayUntil(curr_tick + ADC1_PROCESS_TIME);
        curr_tick += ADC1_PROCESS_TIME;
    }
    /* USER CODE END Start_ADC1_Process */
}

void Start_ADC2_Process(void* argument) {
    /* USER CODE BEGIN Start_ADC2_Process */
    uint32_t curr_tick = osKernelGetTickCount();
    /* Infinite loop */
    for (;;) {
        convert_adc2_to_real(&global_adc2, &mutex_struct, &semaphore_struct);
        osDelayUntil(curr_tick + ADC2_PROCESS_TIME);
        curr_tick += ADC2_PROCESS_TIME;
    }
    /* USER CODE END Start_ADC2_Process */
}

void Start_Process_WSS(void* argument) {
    /* USER CODE BEGIN Start_Process_WSS */
    uint32_t curr_tick = osKernelGetTickCount();
    uint32_t flags;
    /* Infinite loop */
    for (;;) {
        flags = osThreadFlagsWait(0x0001, osFlagsWaitAny, osWaitForever);
        if (flags & 0x0001) {
            float temp_wss;
            osMessageQueueGet(WSS_QueueHandle, &wss, QUEUE_NORM_PRIO, 0);

            uint32_t curr_tick = osKernelGetTickCount();
            osDelayUntil(curr_tick + WSS_PROCESS_TIME);
            curr_tick += WSS_PROCESS_TIME;
        }
    }
    /* USER CODE END Start_Process_WSS */
}

void Start_MON_Process(void* argument) {
    /* USER CODE BEGIN Start_MON_Process */
    uint32_t curr_tick = osKernelGetTickCount();
    /* Infinite loop */
    for (;;) {
        mon_i2c_read(&global_mon, &mutex_struct);
        osDelayUntil(curr_tick + MON_PROCESS_TIME);
        curr_tick += MON_PROCESS_TIME;
    }
    /* USER CODE END Start_MON_Process */
}

void HAL_TIM_PeriodElapsedCallback(TIM_HandleTypeDef* htim) {
    if (htim->Instance == TIM1) {
        HAL_IncTick();
    }
}

void Error_Handler(void) {
    __disable_irq();
    while (1) {
    }
}
